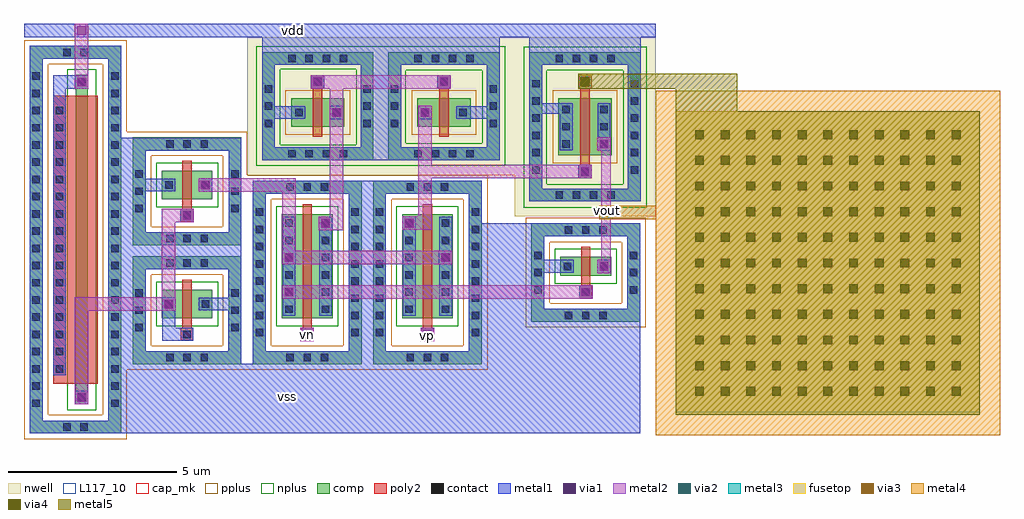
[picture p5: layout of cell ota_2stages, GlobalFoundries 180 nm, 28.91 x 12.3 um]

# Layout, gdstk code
from math import pi, radians
import gdstk
lib = gdstk.Library(unit=1e-6, precision=1e-09)
def R(c, l, rs):  # rectangles x0, y0, x1, y1
    for r in rs: c.add(gdstk.rectangle(r[:2], r[2:], *l))
def A(c, l, x, y, w, h, nx, ny, dx, dy):  # array of equal rectangles
    R(c, l, [(x+i*dx, y+j*dy, x+i*dx+w, y+j*dy+h) for i in range(nx) for j in range(ny)])
def P(c, l, *ps):  # polygons
    for p in ps: c.add(gdstk.Polygon(p, *l))
nwell = (21, 0)
comp = (22, 0)
poly2 = (30, 0)
pplus = (31, 0)
nplus = (32, 0)
contact = (33, 0)
metal1 = (34, 0)
via1 = (35, 0)
metal2 = (36, 0)
via2 = (38, 0)
via3 = (40, 0)
via4 = (41, 0)
metal3 = (42, 0)
metal4 = (46, 0)
fusetop = (75, 0)
metal5 = (81, 0)
cap_mk = (117, 5)
L117_10 = (117, 10)

nfet_3_3 = lib.new_cell('nfet$3$3')

pfet_1_11 = lib.new_cell('pfet$1$11')

via_dev_2_3 = lib.new_cell('via_dev$2$3')

nfet_1_4 = lib.new_cell('nfet$1$4')

nfet_20 = lib.new_cell('nfet$20')

nfet_3_1_2 = lib.new_cell('nfet$3$1$2')

pfet_1_1 = lib.new_cell('pfet$1$1')

via_dev_2_1_1 = lib.new_cell('via_dev$2$1$1')

nfet_1_1 = lib.new_cell('nfet$1$1')

nfet_2_5 = lib.new_cell('nfet$2$5')

nfet_21 = lib.new_cell('nfet$21')
R(nfet_21, comp, [(-0.42,-0.01,0,0.37), (8.92,-0.01,9.34,0.37), (0,0,8.92,0.36)])
P(nfet_21, comp, [(-1.28,-0.99),(-1.28,1.34),(-0.9,1.34),(-0.9,-0.61),(9.82,-0.61),(9.82,1.34),(-1.28,1.34),(-1.28,1.72),(10.2,1.72),(10.2,-0.99)])
R(nfet_21, poly2, [(0.19,-0.3,8.73,0.66), (0.19,0.66,8.73,1.02)])
P(nfet_21, pplus, [(-1.45,-1.16),(-1.45,1.17),(-0.73,1.17),(-0.73,-0.44),(9.65,-0.44),(9.65,1.17),(-1.45,1.17),(-1.45,1.89),(10.37,1.89),(10.37,-1.16)])
R(nfet_21, nplus, [(-0.59,-0.25,9.51,0.61)])
A(nfet_21, contact, -0.495, -0.91, 0.22, 0.22, 20, 2, 0.51, 2.33)
A(nfet_21, contact, 0.525, 0.73, 0.22, 0.22, 16, 1, 0.51, 0)
R(nfet_21, contact, [(-1.2,0,-0.98,0.22), (9.9,0,10.12,0.22), (-0.32,0.07,-0.1,0.29), (9.02,0.07,9.24,0.29), (-1.2,0.51,-0.98,0.73), (9.9,0.51,10.12,0.73)])
R(nfet_21, metal1, [(-0.4,-0.01,-0.02,0.37), (8.94,-0.01,9.32,0.37), (0.445,0.65,8.475,1.03)])

pfet_17 = lib.new_cell('pfet$17')
R(pfet_17, nwell, [(-1.76,-1.43,2.42,2.65)])
R(pfet_17, comp, [(-0.46,0,0,0.84), (0,0,0.66,0.84), (0.66,0,1.12,0.84)])
P(pfet_17, comp, [(-1.32,-0.99),(-1.32,1.83),(-0.94,1.83),(-0.94,-0.61),(1.6,-0.61),(1.6,1.83),(-1.32,1.83),(-1.32,2.21),(1.98,2.21),(1.98,-0.99)])
R(pfet_17, poly2, [(0.19,-0.3,0.47,1.14), (0.14,1.14,0.52,1.52)])
R(pfet_17, pplus, [(-0.63,-0.24,1.29,1.08)])
A(pfet_17, contact, -0.545, -0.91, 0.22, 0.22, 4, 2, 0.51, 2.82)
A(pfet_17, contact, -1.24, -0.01, 0.22, 0.22, 1, 3, 0, 0.51)
A(pfet_17, contact, 1.68, -0.01, 0.22, 0.22, 1, 3, 0, 0.51)
R(pfet_17, contact, [(-0.34,0.31,-0.12,0.53), (0.78,0.31,1,0.53), (0.22,1.22,0.44,1.44)])
R(pfet_17, metal1, [(-0.42,0.23,-0.04,0.61), (0.7,0.23,1.08,0.61), (0.14,1.14,0.52,1.52)])

via_dev_33 = lib.new_cell('via_dev$33')
R(via_dev_33, metal1, [(0,0,0.4,0.4)])
R(via_dev_33, via1, [(0.07,0.07,0.33,0.33)])
R(via_dev_33, metal2, [(0,0,0.4,0.4)])

nfet_22 = lib.new_cell('nfet$22')
R(nfet_22, comp, [(-0.42,0,0,3.08), (0,0,0.66,3.08), (0.66,0,1.08,3.08)])
P(nfet_22, comp, [(-1.28,-1.36),(-1.28,3.69),(-0.9,3.69),(-0.9,-0.98),(1.56,-0.98),(1.56,3.69),(-1.28,3.69),(-1.28,4.07),(1.94,4.07),(1.94,-1.36)])
R(nfet_22, poly2, [(0.15,-0.66,0.51,-0.3), (0.19,-0.3,0.47,3.38)])
P(nfet_22, pplus, [(-1.45,-1.53),(-1.45,3.52),(-0.73,3.52),(-0.73,-0.81),(1.39,-0.81),(1.39,3.52),(-1.45,3.52),(-1.45,4.24),(2.11,4.24),(2.11,-1.53)])
R(nfet_22, nplus, [(-0.59,-0.24,1.25,3.32)])
A(nfet_22, contact, -0.29, -1.28, 0.22, 0.22, 3, 2, 0.51, 5.05)
A(nfet_22, contact, -1.2, -0.54, 0.22, 0.22, 1, 8, 0, 0.51)
A(nfet_22, contact, 1.64, -0.54, 0.22, 0.22, 1, 8, 0, 0.51)
A(nfet_22, contact, -0.32, 0.155, 0.22, 0.22, 1, 6, 0, 0.51)
A(nfet_22, contact, 0.76, 0.155, 0.22, 0.22, 1, 6, 0, 0.51)
R(nfet_22, contact, [(0.22,-0.59,0.44,-0.37)])
R(nfet_22, metal1, [(0.14,-0.67,0.52,-0.29), (-0.4,0.075,-0.02,3.005), (0.68,0.075,1.06,3.005)])

nfet_23 = lib.new_cell('nfet$23')
R(nfet_23, comp, [(-0.42,0,0,0.84), (0,0,0.66,0.84), (0.66,0,1.08,0.84)])
P(nfet_23, comp, [(-1.28,-1.36),(-1.28,1.45),(-0.9,1.45),(-0.9,-0.98),(1.56,-0.98),(1.56,1.45),(-1.28,1.45),(-1.28,1.83),(1.94,1.83),(1.94,-1.36)])
R(nfet_23, poly2, [(0.15,-0.66,0.51,-0.3), (0.19,-0.3,0.47,1.14)])
P(nfet_23, pplus, [(-1.45,-1.53),(-1.45,1.28),(-0.73,1.28),(-0.73,-0.81),(1.39,-0.81),(1.39,1.28),(-1.45,1.28),(-1.45,2),(2.11,2),(2.11,-1.53)])
R(nfet_23, nplus, [(-0.59,-0.24,1.25,1.08)])
A(nfet_23, contact, -0.29, -1.28, 0.22, 0.22, 3, 2, 0.51, 2.81)
A(nfet_23, contact, -1.2, -0.385, 0.22, 0.22, 1, 3, 0, 0.51)
A(nfet_23, contact, 1.64, -0.385, 0.22, 0.22, 1, 3, 0, 0.51)
R(nfet_23, contact, [(0.22,-0.59,0.44,-0.37), (-0.32,0.31,-0.1,0.53), (0.76,0.31,0.98,0.53)])
R(nfet_23, metal1, [(0.14,-0.67,0.52,-0.29), (-0.4,0.23,-0.02,0.61), (0.68,0.23,1.06,0.61)])

pfet_18 = lib.new_cell('pfet$18')
R(pfet_18, nwell, [(-1.76,-1.81,2.42,3.49)])
R(pfet_18, comp, [(-0.46,0,0,1.68), (0,0,0.66,1.68), (0.66,0,1.12,1.68)])
P(pfet_18, comp, [(-1.32,-1.37),(-1.32,2.67),(-0.94,2.67),(-0.94,-0.99),(1.6,-0.99),(1.6,2.67),(-1.32,2.67),(-1.32,3.05),(1.98,3.05),(1.98,-1.37)])
R(pfet_18, poly2, [(0.14,-0.68,0.52,-0.3), (0.19,-0.3,0.47,1.98), (0.14,1.98,0.52,2.36)])
R(pfet_18, pplus, [(-0.63,-0.24,1.29,1.92)])
A(pfet_18, contact, -0.545, -1.29, 0.22, 0.22, 4, 2, 0.51, 4.04)
A(pfet_18, contact, -1.24, -0.545, 0.22, 0.22, 1, 6, 0, 0.51)
A(pfet_18, contact, 1.68, -0.545, 0.22, 0.22, 1, 6, 0, 0.51)
A(pfet_18, contact, -0.34, 0.22, 0.22, 0.22, 1, 3, 0, 0.51)
A(pfet_18, contact, 0.78, 0.22, 0.22, 0.22, 1, 3, 0, 0.51)
R(pfet_18, contact, [(0.22,-0.6,0.44,-0.38), (0.22,2.06,0.44,2.28)])
R(pfet_18, metal1, [(0.14,-0.68,0.52,-0.3), (-0.42,0.14,-0.04,1.54), (0.7,0.14,1.08,1.54), (0.14,1.98,0.52,2.36)])

nfet_24 = lib.new_cell('nfet$24')
R(nfet_24, comp, [(-0.42,0,0,0.56), (0,0,0.66,0.56), (0.66,0,1.08,0.56)])
P(nfet_24, comp, [(-1.28,-1.36),(-1.28,1.17),(-0.9,1.17),(-0.9,-0.98),(1.56,-0.98),(1.56,1.17),(-1.28,1.17),(-1.28,1.55),(1.94,1.55),(1.94,-1.36)])
R(nfet_24, poly2, [(0.15,-0.66,0.51,-0.3), (0.19,-0.3,0.47,0.86)])
P(nfet_24, pplus, [(-1.45,-1.53),(-1.45,1),(-0.73,1),(-0.73,-0.81),(1.39,-0.81),(1.39,1),(-1.45,1),(-1.45,1.72),(2.11,1.72),(2.11,-1.53)])
R(nfet_24, nplus, [(-0.59,-0.24,1.25,0.8)])
A(nfet_24, contact, -0.29, -1.28, 0.22, 0.22, 3, 2, 0.51, 2.53)
A(nfet_24, contact, -1.2, -0.525, 0.22, 0.22, 1, 3, 0, 0.51)
A(nfet_24, contact, 1.64, -0.525, 0.22, 0.22, 1, 3, 0, 0.51)
R(nfet_24, contact, [(0.22,-0.59,0.44,-0.37), (-0.32,0.17,-0.1,0.39), (0.76,0.17,0.98,0.39)])
R(nfet_24, metal1, [(0.14,-0.67,0.52,-0.29), (-0.4,0.09,-0.02,0.47), (0.68,0.09,1.06,0.47)])

cap_mim_2 = lib.new_cell('cap_mim$2')
A(cap_mim_2, via4, 0.57, 0.57, 0.26, 0.26, 11, 11, 0.76, 0.76)
R(cap_mim_2, metal4, [(-0.6,-0.6,9.6,9.6)])
R(cap_mim_2, fusetop, [(0,0,9,9)])
R(cap_mim_2, metal5, [(0,0,9,9)])
R(cap_mim_2, cap_mk, [(-0.6,-0.6,9.6,9.6)])
R(cap_mim_2, L117_10, [(0,0,9,0.1)])

via_dev_34 = lib.new_cell('via_dev$34')
R(via_dev_34, metal1, [(0,0,0.4,0.4)])
R(via_dev_34, via1, [(0.07,0.07,0.33,0.33)])
R(via_dev_34, metal2, [(0,0,0.4,0.4)])
R(via_dev_34, via2, [(0.07,0.07,0.33,0.33)])
R(via_dev_34, via3, [(0.07,0.07,0.33,0.33)])
R(via_dev_34, via4, [(0.07,0.07,0.33,0.33)])
R(via_dev_34, metal3, [(0,0,0.4,0.4)])
R(via_dev_34, metal4, [(0,0,0.4,0.4)])
R(via_dev_34, metal5, [(0,0,0.4,0.4)])

via_dev_35 = lib.new_cell('via_dev$35')
R(via_dev_35, metal2, [(0,0,0.4,0.4)])
R(via_dev_35, via2, [(0.07,0.07,0.33,0.33)])
R(via_dev_35, via3, [(0.07,0.07,0.33,0.33)])
R(via_dev_35, metal3, [(0,0,0.4,0.4)])
R(via_dev_35, metal4, [(0,0,0.4,0.4)])

ota_2stages = lib.new_cell('ota_2stages')
P(ota_2stages, nplus, [(-3.75,2.625),(-3.75,5.485),(-3.045,5.485),(-3.045,3.245),(-0.795,3.245),(-0.795,5.465),(0.675,5.465),(0.675,3.29),(2.945,3.29),(2.945,5.465),(-0.795,5.465),(-0.795,5.485),(-3.75,5.485),(-3.75,6.165),(3.63,6.165),(3.63,2.625)],
  [(4.17,1.38),(4.17,5.455),(4.86,5.455),(4.86,2.075),(7.125,2.075),(7.125,5.455),(4.17,5.455),(4.17,6.16),(7.82,6.16),(7.82,1.38)])
R(ota_2stages, metal1, [(-7.75,-5.3,-7.41,3.46), (-7.41,-5.3,2.93,-3.23), (2.93,-5.3,7.62,-1.99), (2.93,-1.99,4.4,0.92), (-5.075,-1.655,-4.58,-1.275), (4.78,-0.54,5.28,-0.16), (-7.05,1.87,-6.525,2.25), (-3.22,4.015,-2.68,4.395), (2.56,4.015,3.09,4.395), (4.72,4.17,5.24,4.485), (-3.58,5.995,3.46,6.435), (4.34,5.995,7.64,6.435), (-10.63,6.435,8.08,6.835)])
P(ota_2stages, metal1, [(-9.77,4.455),(-9.77,5.31),(-9.12,5.31),(-9.12,4.91),(-9.39,4.91),(-9.39,4.455)],
  [(4.4,-1.99),(4.4,0.54),(4.78,0.54),(4.78,-1.61),(7.24,-1.61),(7.24,0.54),(4.4,0.54),(4.4,0.92),(7.62,0.92),(7.62,-1.99)],
  [(4.34,1.575),(4.34,5.615),(4.72,5.615),(4.72,1.955),(7.26,1.955),(7.26,5.615),(4.34,5.615),(4.34,5.995),(7.64,5.995),(7.64,1.575)],
  [(-10.46,-5.3),(-10.46,6.18),(-7.75,6.18),(-7.75,-5.3),(-10.08,-5.3),(-10.08,-4.92),(-8.13,-4.92),(-8.13,5.8),(-10.08,5.8),(-10.08,-5.3)],
  [(-6.53,-2.555),(-6.53,-1.655),(-6.15,-1.655),(-6.15,-2.175),(-5.99,-2.175),(-5.99,-2.555)],
  [(-7.41,-3.25),(-7.41,-0.44),(-7.03,-0.44),(-7.03,-2.87),(-4.58,-2.87),(-4.58,-0.44),(-7.41,-0.44),(-7.41,3.075),(-7.03,3.075),(-7.03,0.66),(-4.57,0.66),(-4.57,3.075),(-7.41,3.075),(-7.41,3.46),(-4.19,3.46),(-4.19,-3.25)],
  [(-3.58,2.795),(-3.58,5.615),(-3.2,5.615),(-3.2,3.175),(-0.66,3.175),(-0.66,5.615),(0.54,5.615),(0.54,3.175),(3.08,3.175),(3.08,5.615),(-3.58,5.615),(-3.58,5.995),(3.46,5.995),(3.46,2.795)],
  [(-3.85,-3.245),(-3.85,1.805),(-3.47,1.805),(-3.47,-2.865),(-1.01,-2.865),(-1.01,1.805),(0.09,1.805),(0.09,-2.865),(2.55,-2.865),(2.55,1.805),(-3.85,1.805),(-3.85,2.185),(2.93,2.185),(2.93,-3.245)])
R(ota_2stages, metal2, [(-9.12,-4.03,-8.72,-1.27), (-9.1,-1.67,-6.545,-1.27), (-6.545,-1.67,-6.145,0.96), (-2.58,-1.31,6.12,-0.91), (-2.58,-0.29,1.66,0.11), (6.47,-0.15,6.75,3.46), (-2.98,0.11,-2.58,1.86), (-1.57,0.725,-1.17,4.915), (0.98,0.73,1.05,1.13), (1.05,0.73,1.45,4.13), (-6.545,0.96,-6,1.36), (-5.46,1.86,-2.58,2.26), (1.45,2.255,5.79,2.655), (-1.73,4.915,1.61,5.315), (-9.12,5.305,-8.72,6.435)])
R(ota_2stages, metal4, [(6.805,1.05,8.08,1.45)])
R(ota_2stages, metal5, [(8.68,4.25,10.495,4.935), (5.79,4.915,10.495,5.355)])
ota_2stages.add(gdstk.Reference(nfet_3_3, (-8.74,-4.02), rotation=pi/2))
ota_2stages.add(gdstk.Reference(pfet_1_11, (-2.26,3.785)))
ota_2stages.add(gdstk.Reference(pfet_1_11, (1.48,3.785)))
ota_2stages.add(gdstk.Reference(via_dev_2_3, (1.05,4.005)))
ota_2stages.add(gdstk.Reference(via_dev_2_3, (-1.57,4.005)))
ota_2stages.add(gdstk.Reference(via_dev_2_3, (-2.13,4.915)))
ota_2stages.add(gdstk.Reference(via_dev_2_3, (1.61,4.915)))
ota_2stages.add(gdstk.Reference(via_dev_2_3, (0.58,0.73)))
ota_2stages.add(gdstk.Reference(via_dev_2_3, (-1.9,0.725)))
ota_2stages.add(gdstk.Reference(nfet_1_4, (-2.57,-1.885)))
ota_2stages.add(gdstk.Reference(nfet_1_4, (0.99,-1.885)))
ota_2stages.add(gdstk.Reference(via_dev_2_3, (-2.98,-0.29)))
ota_2stages.add(gdstk.Reference(via_dev_2_3, (1.66,-0.29)))
ota_2stages.add(gdstk.Reference(via_dev_2_3, (-2.44,-2.565)))
ota_2stages.add(gdstk.Reference(via_dev_2_3, (1.12,-2.565)))
ota_2stages.add(gdstk.Reference(nfet_20, (-6.13,1.64)))
ota_2stages.add(gdstk.Reference(via_dev_2_3, (-5.46,1.86)))
ota_2stages.add(gdstk.Reference(via_dev_2_3, (-6,0.96)))
ota_2stages.add(gdstk.Reference(nfet_20, (-6.13,-1.885)))
ota_2stages.add(gdstk.Reference(via_dev_2_3, (-8.72,4.91), rotation=pi/2))
ota_2stages.add(gdstk.Reference(via_dev_2_3, (-9.12,6.435)))
ota_2stages.add(gdstk.Reference(via_dev_2_3, (-8.72,-4.43), rotation=pi/2))
ota_2stages.add(gdstk.Reference(via_dev_2_3, (-6.54,-1.67)))
ota_2stages.add(gdstk.Reference(nfet_3_1_2, (-8.74,-4.02), rotation=pi/2))
ota_2stages.add(gdstk.Reference(pfet_1_1, (-2.26,3.785)))
ota_2stages.add(gdstk.Reference(pfet_1_1, (1.48,3.785)))
ota_2stages.add(gdstk.Reference(via_dev_2_1_1, (1.05,4.005)))
ota_2stages.add(gdstk.Reference(via_dev_2_1_1, (-1.57,4.005)))
ota_2stages.add(gdstk.Reference(via_dev_2_1_1, (-2.13,4.915)))
ota_2stages.add(gdstk.Reference(via_dev_2_1_1, (1.61,4.915)))
ota_2stages.add(gdstk.Reference(via_dev_2_1_1, (0.58,0.73)))
ota_2stages.add(gdstk.Reference(via_dev_2_1_1, (-1.9,0.725)))
ota_2stages.add(gdstk.Reference(nfet_1_1, (-2.57,-1.885)))
ota_2stages.add(gdstk.Reference(nfet_1_1, (0.99,-1.885)))
ota_2stages.add(gdstk.Reference(via_dev_2_1_1, (-2.98,-0.29)))
ota_2stages.add(gdstk.Reference(via_dev_2_1_1, (1.66,-0.29)))
ota_2stages.add(gdstk.Reference(via_dev_2_1_1, (-2.44,-2.565)))
ota_2stages.add(gdstk.Reference(via_dev_2_1_1, (1.12,-2.565)))
ota_2stages.add(gdstk.Reference(nfet_2_5, (-6.13,1.64)))
ota_2stages.add(gdstk.Reference(via_dev_2_1_1, (-5.46,1.86)))
ota_2stages.add(gdstk.Reference(via_dev_2_1_1, (-6,0.96)))
ota_2stages.add(gdstk.Reference(nfet_2_5, (-6.13,-1.885)))
ota_2stages.add(gdstk.Reference(via_dev_2_1_1, (-8.72,4.91), rotation=pi/2))
ota_2stages.add(gdstk.Reference(via_dev_2_1_1, (-9.12,6.435)))
ota_2stages.add(gdstk.Reference(via_dev_2_1_1, (-8.72,-4.43), rotation=pi/2))
ota_2stages.add(gdstk.Reference(via_dev_2_1_1, (-6.54,-1.67)))
ota_2stages.add(gdstk.Reference(nfet_21, (-8.74,-4.02), rotation=pi/2))
ota_2stages.add(gdstk.Reference(pfet_17, (-2.26,3.785)))
ota_2stages.add(gdstk.Reference(pfet_17, (1.48,3.785)))
ota_2stages.add(gdstk.Reference(via_dev_33, (1.05,4.005)))
ota_2stages.add(gdstk.Reference(via_dev_33, (-1.57,4.005)))
ota_2stages.add(gdstk.Reference(via_dev_33, (-2.13,4.915)))
ota_2stages.add(gdstk.Reference(via_dev_33, (1.61,4.915)))
ota_2stages.add(gdstk.Reference(via_dev_33, (0.58,0.73)))
ota_2stages.add(gdstk.Reference(via_dev_33, (-1.9,0.725)))
ota_2stages.add(gdstk.Reference(nfet_22, (-2.57,-1.885)))
ota_2stages.add(gdstk.Reference(nfet_22, (0.99,-1.885)))
ota_2stages.add(gdstk.Reference(via_dev_33, (-2.98,-0.29)))
ota_2stages.add(gdstk.Reference(via_dev_33, (1.66,-0.29)))
ota_2stages.add(gdstk.Reference(via_dev_33, (-2.44,-2.565)))
ota_2stages.add(gdstk.Reference(via_dev_33, (1.12,-2.565)))
ota_2stages.add(gdstk.Reference(nfet_23, (-6.13,1.64)))
ota_2stages.add(gdstk.Reference(via_dev_33, (-5.46,1.86)))
ota_2stages.add(gdstk.Reference(via_dev_33, (-6,0.96)))
ota_2stages.add(gdstk.Reference(nfet_23, (-6.13,-1.885)))
ota_2stages.add(gdstk.Reference(via_dev_33, (-8.72,4.91), rotation=pi/2))
ota_2stages.add(gdstk.Reference(via_dev_33, (-9.12,6.435)))
ota_2stages.add(gdstk.Reference(via_dev_33, (-8.72,-4.43), rotation=pi/2))
ota_2stages.add(gdstk.Reference(via_dev_33, (-6.54,-1.67)))
ota_2stages.add(gdstk.Reference(pfet_18, (5.66,2.945)))
ota_2stages.add(gdstk.Reference(via_dev_33, (-2.98,-1.31)))
ota_2stages.add(gdstk.Reference(via_dev_33, (6.35,-0.55)))
ota_2stages.add(gdstk.Reference(via_dev_33, (5.81,-1.31)))
ota_2stages.add(gdstk.Reference(nfet_24, (5.68,-0.63)))
r = gdstk.Reference(cap_mim_2, (8.68,-4.75)); r.repetition = gdstk.Repetition(1, 1, v1=(0,0), v2=(0,0)); ota_2stages.add(r)
ota_2stages.add(gdstk.Reference(via_dev_33, (6.35,3.075)))
ota_2stages.add(gdstk.Reference(via_dev_33, (5.79,2.255)))
ota_2stages.add(gdstk.Reference(via_dev_34, (5.79,4.915)))
ota_2stages.add(gdstk.Reference(via_dev_35, (6.41,1.05)))
ota_2stages.add(gdstk.Label('vss', (-2.815,-4.215), layer=34, texttype=10))
ota_2stages.add(gdstk.Label('vdd', (-2.64,6.645), layer=34, texttype=10))
ota_2stages.add(gdstk.Label('vn', (-2.245,-2.38), layer=36, texttype=10))
ota_2stages.add(gdstk.Label('vp', (1.32,-2.385), layer=36, texttype=10))
ota_2stages.add(gdstk.Label('vout', (6.645,1.3), layer=36, texttype=10))

lib.write_gds('ota_2stages.gds')
